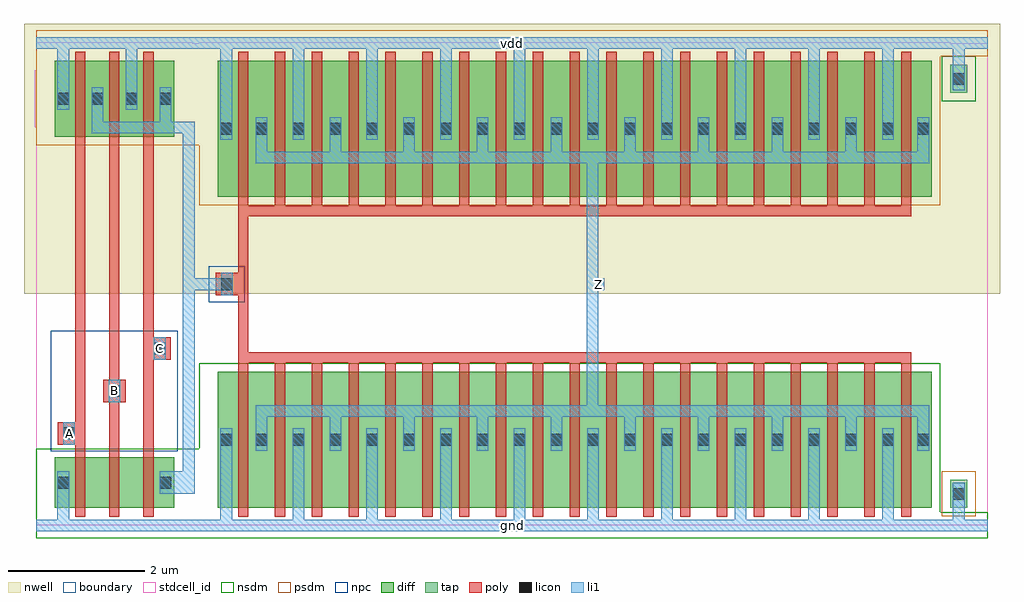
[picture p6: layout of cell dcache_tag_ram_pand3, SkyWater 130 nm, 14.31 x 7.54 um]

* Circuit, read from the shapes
.subckt dcache_tag_ram_pand3 A B C Z gnd vdd
XM1 dcache_tag_ram_pnand3_0/dcache_tag_ram_nmos_m1_w0_740_sli_dactive_3/D A gnd gnd sky130_fd_pr__nfet_01v8 w=0.74 l=0.15
XM2 dcache_tag_ram_pnand3_0/dcache_tag_ram_nmos_m1_w0_740_sactive_dactive_4/D B dcache_tag_ram_pnand3_0/dcache_tag_ram_nmos_m1_w0_740_sli_dactive_3/D gnd sky130_fd_pr__nfet_01v8 w=0.74 l=0.15
XM3 dcache_tag_ram_pdriver_2_1/A C dcache_tag_ram_pnand3_0/dcache_tag_ram_nmos_m1_w0_740_sactive_dactive_4/D gnd sky130_fd_pr__nfet_01v8 w=0.74 l=0.15
XM4 Z dcache_tag_ram_pdriver_2_1/A gnd gnd sky130_fd_pr__nfet_01v8 w=2 l=0.15 m=19
XM5 dcache_tag_ram_pdriver_2_1/A A vdd vdd sky130_fd_pr__pfet_01v8 w=1.12 l=0.15
XM6 vdd B dcache_tag_ram_pdriver_2_1/A vdd sky130_fd_pr__pfet_01v8 w=1.12 l=0.15
XM7 dcache_tag_ram_pdriver_2_1/A C vdd vdd sky130_fd_pr__pfet_01v8 w=1.12 l=0.15
XM8 Z dcache_tag_ram_pdriver_2_1/A vdd vdd sky130_fd_pr__pfet_01v8 w=2 l=0.15 m=19
.ends

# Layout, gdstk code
import gdstk
lib = gdstk.Library(unit=1e-6, precision=1e-09)
def R(c, l, rs):  # rectangles x0, y0, x1, y1
    for r in rs: c.add(gdstk.rectangle(r[:2], r[2:], *l))
def A(c, l, x, y, w, h, nx, ny, dx, dy):  # array of equal rectangles
    R(c, l, [(x+i*dx, y+j*dy, x+i*dx+w, y+j*dy+h) for i in range(nx) for j in range(ny)])
nwell = (64, 20)
diff = (65, 20)
tap = (65, 44)
poly = (66, 20)
licon = (66, 44)
li1 = (67, 20)
stdcell_id = (81, 4)
nsdm = (93, 44)
psdm = (94, 20)
npc = (95, 20)
boundary = (235, 4)

dcache_tag_ram_contact_1 = lib.new_cell('dcache_tag_ram_contact_11')
R(dcache_tag_ram_contact_1, nwell, [(-0.295,-0.255,0.545,0.585)])
R(dcache_tag_ram_contact_1, diff, [(0,0.02,0.25,0.31)])
R(dcache_tag_ram_contact_1, licon, [(0.04,0.08,0.21,0.25)])
R(dcache_tag_ram_contact_1, li1, [(0.04,0,0.21,0.33)])
R(dcache_tag_ram_contact_1, stdcell_id, [(-0.295,-0.255,0.545,0.585)])
R(dcache_tag_ram_contact_1, psdm, [(-0.125,-0.105,0.375,0.435)])
R(dcache_tag_ram_contact_1, boundary, [(-0.295,-0.255,0.545,0.585)])

dcache_tag_ram_pmos_m1_w = lib.new_cell('dcache_tag_ram_pmos_m1_w1_120_sli_dli')
R(dcache_tag_ram_pmos_m1_w, nwell, [(-0.27,-0.27,1.02,1.39)])
R(dcache_tag_ram_pmos_m1_w, diff, [(0,0,0.75,1.12)])
R(dcache_tag_ram_pmos_m1_w, poly, [(0.3,-0.13,0.45,1.25), (0.3,-0.13,0.45,1.25)])
R(dcache_tag_ram_pmos_m1_w, li1, [(0.04,0.395,0.21,0.725), (0.54,0.395,0.71,0.725)])
R(dcache_tag_ram_pmos_m1_w, stdcell_id, [(-0.27,-0.27,1.02,1.39)])
R(dcache_tag_ram_pmos_m1_w, psdm, [(-0.125,-0.125,0.875,1.245)])
R(dcache_tag_ram_pmos_m1_w, boundary, [(-0.27,-0.27,1.02,1.39)])
dcache_tag_ram_pmos_m1_w.add(gdstk.Reference(dcache_tag_ram_contact_1, (0,0.395)))
dcache_tag_ram_pmos_m1_w.add(gdstk.Reference(dcache_tag_ram_contact_1, (0.5,0.395)))
dcache_tag_ram_pmos_m1_w.add(gdstk.Label('G', (0.375,0.56), layer=66, texttype=5))
dcache_tag_ram_pmos_m1_w.add(gdstk.Label('S', (0.125,0.56), layer=67, texttype=5))
dcache_tag_ram_pmos_m1_w.add(gdstk.Label('D', (0.625,0.56), layer=67, texttype=5))

c_dcache_tag_ram_contact_1 = lib.new_cell('dcache_tag_ram_contact_10')
R(c_dcache_tag_ram_contact_1, diff, [(0,0.02,0.25,0.31)])
R(c_dcache_tag_ram_contact_1, licon, [(0.04,0.08,0.21,0.25)])
R(c_dcache_tag_ram_contact_1, li1, [(0.04,0,0.21,0.33)])
R(c_dcache_tag_ram_contact_1, stdcell_id, [(-0.125,-0.105,0.375,0.435)])
R(c_dcache_tag_ram_contact_1, nsdm, [(-0.125,-0.105,0.375,0.435)])
R(c_dcache_tag_ram_contact_1, boundary, [(-0.125,-0.105,0.375,0.435)])

dcache_tag_ram_nmos_m1_w = lib.new_cell('dcache_tag_ram_nmos_m1_w0_740_sli_dactive')
R(dcache_tag_ram_nmos_m1_w, diff, [(0,0,0.75,0.74), (0.55,0.295,0.7,0.445)])
R(dcache_tag_ram_nmos_m1_w, poly, [(0.3,-0.13,0.45,0.87), (0.3,-0.13,0.45,0.87)])
R(dcache_tag_ram_nmos_m1_w, li1, [(0.04,0.205,0.21,0.535)])
R(dcache_tag_ram_nmos_m1_w, stdcell_id, [(-0.125,-0.13,0.875,0.87)])
R(dcache_tag_ram_nmos_m1_w, nsdm, [(-0.125,-0.125,0.875,0.865)])
R(dcache_tag_ram_nmos_m1_w, boundary, [(-0.125,-0.13,0.875,0.87)])
dcache_tag_ram_nmos_m1_w.add(gdstk.Reference(c_dcache_tag_ram_contact_1, (0,0.205)))
dcache_tag_ram_nmos_m1_w.add(gdstk.Label('G', (0.375,0.37), layer=66, texttype=5))
dcache_tag_ram_nmos_m1_w.add(gdstk.Label('S', (0.125,0.37), layer=67, texttype=5))
dcache_tag_ram_nmos_m1_w.add(gdstk.Label('D', (0.625,0.37), layer=65, texttype=5))

c_dcache_tag_ram_nmos_m1_w = lib.new_cell('dcache_tag_ram_nmos_m1_w0_740_sactive_dactive')
R(c_dcache_tag_ram_nmos_m1_w, diff, [(0,0,0.75,0.74), (0.05,0.295,0.2,0.445), (0.55,0.295,0.7,0.445)])
R(c_dcache_tag_ram_nmos_m1_w, poly, [(0.3,-0.13,0.45,0.87), (0.3,-0.13,0.45,0.87)])
R(c_dcache_tag_ram_nmos_m1_w, stdcell_id, [(-0.125,-0.13,0.875,0.87)])
R(c_dcache_tag_ram_nmos_m1_w, nsdm, [(-0.125,-0.125,0.875,0.865)])
R(c_dcache_tag_ram_nmos_m1_w, boundary, [(-0.125,-0.13,0.875,0.87)])
c_dcache_tag_ram_nmos_m1_w.add(gdstk.Label('G', (0.375,0.37), layer=66, texttype=5))
c_dcache_tag_ram_nmos_m1_w.add(gdstk.Label('S', (0.125,0.37), layer=65, texttype=5))
c_dcache_tag_ram_nmos_m1_w.add(gdstk.Label('D', (0.625,0.37), layer=65, texttype=5))

c_dcache_tag_ram_nmos_m1_w_ = lib.new_cell('dcache_tag_ram_nmos_m1_w0_740_sactive_dli')
R(c_dcache_tag_ram_nmos_m1_w_, diff, [(0,0,0.75,0.74), (0.05,0.295,0.2,0.445)])
R(c_dcache_tag_ram_nmos_m1_w_, poly, [(0.3,-0.13,0.45,0.87), (0.3,-0.13,0.45,0.87)])
R(c_dcache_tag_ram_nmos_m1_w_, li1, [(0.54,0.205,0.71,0.535)])
R(c_dcache_tag_ram_nmos_m1_w_, stdcell_id, [(-0.125,-0.13,0.875,0.87)])
R(c_dcache_tag_ram_nmos_m1_w_, nsdm, [(-0.125,-0.125,0.875,0.865)])
R(c_dcache_tag_ram_nmos_m1_w_, boundary, [(-0.125,-0.13,0.875,0.87)])
c_dcache_tag_ram_nmos_m1_w_.add(gdstk.Reference(c_dcache_tag_ram_contact_1, (0.5,0.205)))
c_dcache_tag_ram_nmos_m1_w_.add(gdstk.Label('G', (0.375,0.37), layer=66, texttype=5))
c_dcache_tag_ram_nmos_m1_w_.add(gdstk.Label('S', (0.125,0.37), layer=65, texttype=5))
c_dcache_tag_ram_nmos_m1_w_.add(gdstk.Label('D', (0.625,0.37), layer=67, texttype=5))

c_dcache_tag_ram_contact_1_ = lib.new_cell('dcache_tag_ram_contact_15')
R(c_dcache_tag_ram_contact_1_, poly, [(0,0,0.33,0.33)])
R(c_dcache_tag_ram_contact_1_, licon, [(0.08,0.08,0.25,0.25)])
R(c_dcache_tag_ram_contact_1_, li1, [(0.08,0,0.25,0.33)])
R(c_dcache_tag_ram_contact_1_, stdcell_id, [(-0.1,-0.1,0.43,0.43)])
R(c_dcache_tag_ram_contact_1_, npc, [(-0.1,-0.1,0.43,0.43)])
R(c_dcache_tag_ram_contact_1_, boundary, [(-0.1,-0.1,0.43,0.43)])

dcache_tag_ram_pnand3 = lib.new_cell('dcache_tag_ram_pnand3')
R(dcache_tag_ram_pnand3, nwell, [(-0.18,3.395,2.57,7.355)])
A(dcache_tag_ram_pnand3, poly, 0.57, 1.125, 0.15, 4.44, 3, 1, 0.5, 0)
R(dcache_tag_ram_pnand3, poly, [(0.48,1.185,0.57,1.515), (1.07,1.805,1.145,2.135), (1.57,2.425,1.81,2.755)])
R(dcache_tag_ram_pnand3, li1, [(0,-0.085,2.39,0.085), (0.31,-0.085,0.48,0.46), (1.895,0.46,2.235,0.79), (2.15,0.46,2.32,5.835), (0.395,1.185,0.565,1.515), (1.06,1.805,1.23,2.135), (1.725,2.425,1.895,2.755), (0.81,5.75,0.98,5.92), (0.895,5.75,2.235,5.92), (1.81,5.75,1.98,5.92), (1.895,5.75,2.235,5.92), (2.15,5.75,2.32,5.92), (0.81,5.835,0.98,6.255), (1.81,5.835,1.98,6.255), (0.31,6.09,0.48,7.155), (1.31,6.09,1.48,7.155), (0,6.985,2.39,7.155)])
R(dcache_tag_ram_pnand3, stdcell_id, [(0,0,2.39,7.07), (0,0,2.39,7.07)])
R(dcache_tag_ram_pnand3, nsdm, [(0,-0.19,2.39,0.19), (0,0,2.39,1.12)])
R(dcache_tag_ram_pnand3, psdm, [(0,5.57,2.39,7.07), (0,6.88,2.39,7.26)])
R(dcache_tag_ram_pnand3, npc, [(0.215,1.085,2.075,2.855)])
R(dcache_tag_ram_pnand3, boundary, [(0,0,2.39,7.07), (0,0,2.39,7.07)])
dcache_tag_ram_pnand3.add(gdstk.Reference(dcache_tag_ram_pmos_m1_w, (0.27,5.695)))
dcache_tag_ram_pnand3.add(gdstk.Reference(dcache_tag_ram_pmos_m1_w, (0.77,5.695)))
dcache_tag_ram_pnand3.add(gdstk.Reference(dcache_tag_ram_pmos_m1_w, (1.27,5.695)))
dcache_tag_ram_pnand3.add(gdstk.Reference(dcache_tag_ram_nmos_m1_w, (0.27,0.255)))
dcache_tag_ram_pnand3.add(gdstk.Reference(c_dcache_tag_ram_nmos_m1_w, (0.77,0.255)))
dcache_tag_ram_pnand3.add(gdstk.Reference(c_dcache_tag_ram_nmos_m1_w_, (1.27,0.255)))
dcache_tag_ram_pnand3.add(gdstk.Reference(c_dcache_tag_ram_contact_1_, (0.315,1.185)))
dcache_tag_ram_pnand3.add(gdstk.Reference(c_dcache_tag_ram_contact_1_, (0.98,1.805)))
dcache_tag_ram_pnand3.add(gdstk.Reference(c_dcache_tag_ram_contact_1_, (1.645,2.425)))
dcache_tag_ram_pnand3.add(gdstk.Label('A', (0.48,1.35), layer=67, texttype=5))
dcache_tag_ram_pnand3.add(gdstk.Label('B', (1.145,1.97), layer=67, texttype=5))
dcache_tag_ram_pnand3.add(gdstk.Label('C', (1.81,2.59), layer=67, texttype=5))
dcache_tag_ram_pnand3.add(gdstk.Label('Z', (2.235,5.835), layer=67, texttype=5))
dcache_tag_ram_pnand3.add(gdstk.Label('gnd', (1.195,0), layer=67, texttype=5))
dcache_tag_ram_pnand3.add(gdstk.Label('vdd', (1.195,7.07), layer=67, texttype=5))

dcache_tag_ram_pmos_m19_ = lib.new_cell('dcache_tag_ram_pmos_m19_w2_000_sli_dli_da_p')
R(dcache_tag_ram_pmos_m19_, nwell, [(-0.27,-0.27,10.74,2.27)])
R(dcache_tag_ram_pmos_m19_, diff, [(0,0,10.47,2)])
A(dcache_tag_ram_pmos_m19_, poly, 0.3, -0.13, 0.15, 2.26, 19, 1, 0.54, 0)
R(dcache_tag_ram_pmos_m19_, poly, [(0.3,-0.28,10.17,-0.13)])
A(dcache_tag_ram_pmos_m19_, li1, 0.56, 0.58, 0.17, 0.42, 9, 1, 1.08, 0)
A(dcache_tag_ram_pmos_m19_, li1, 1.1, 0.835, 0.17, 0.33, 9, 1, 1.08, 0)
R(dcache_tag_ram_pmos_m19_, li1, [(0.56,0.495,10.43,0.665), (10.26,0.58,10.43,1), (0.04,0.835,0.21,1.165)])
R(dcache_tag_ram_pmos_m19_, stdcell_id, [(-0.27,-0.28,10.74,2.27)])
R(dcache_tag_ram_pmos_m19_, psdm, [(-0.125,-0.125,10.595,2.125)])
R(dcache_tag_ram_pmos_m19_, boundary, [(-0.27,-0.28,10.74,2.27)])
dcache_tag_ram_pmos_m19_.add(gdstk.Reference(dcache_tag_ram_contact_1, (0,0.835)))
dcache_tag_ram_pmos_m19_.add(gdstk.Reference(dcache_tag_ram_contact_1, (0.52,0.835)))
dcache_tag_ram_pmos_m19_.add(gdstk.Reference(dcache_tag_ram_contact_1, (1.06,0.835)))
dcache_tag_ram_pmos_m19_.add(gdstk.Reference(dcache_tag_ram_contact_1, (1.6,0.835)))
dcache_tag_ram_pmos_m19_.add(gdstk.Reference(dcache_tag_ram_contact_1, (2.14,0.835)))
dcache_tag_ram_pmos_m19_.add(gdstk.Reference(dcache_tag_ram_contact_1, (2.68,0.835)))
dcache_tag_ram_pmos_m19_.add(gdstk.Reference(dcache_tag_ram_contact_1, (3.22,0.835)))
dcache_tag_ram_pmos_m19_.add(gdstk.Reference(dcache_tag_ram_contact_1, (3.76,0.835)))
dcache_tag_ram_pmos_m19_.add(gdstk.Reference(dcache_tag_ram_contact_1, (4.3,0.835)))
dcache_tag_ram_pmos_m19_.add(gdstk.Reference(dcache_tag_ram_contact_1, (4.84,0.835)))
dcache_tag_ram_pmos_m19_.add(gdstk.Reference(dcache_tag_ram_contact_1, (5.38,0.835)))
dcache_tag_ram_pmos_m19_.add(gdstk.Reference(dcache_tag_ram_contact_1, (5.92,0.835)))
dcache_tag_ram_pmos_m19_.add(gdstk.Reference(dcache_tag_ram_contact_1, (6.46,0.835)))
dcache_tag_ram_pmos_m19_.add(gdstk.Reference(dcache_tag_ram_contact_1, (7,0.835)))
dcache_tag_ram_pmos_m19_.add(gdstk.Reference(dcache_tag_ram_contact_1, (7.54,0.835)))
dcache_tag_ram_pmos_m19_.add(gdstk.Reference(dcache_tag_ram_contact_1, (8.08,0.835)))
dcache_tag_ram_pmos_m19_.add(gdstk.Reference(dcache_tag_ram_contact_1, (8.62,0.835)))
dcache_tag_ram_pmos_m19_.add(gdstk.Reference(dcache_tag_ram_contact_1, (9.16,0.835)))
dcache_tag_ram_pmos_m19_.add(gdstk.Reference(dcache_tag_ram_contact_1, (9.7,0.835)))
dcache_tag_ram_pmos_m19_.add(gdstk.Reference(dcache_tag_ram_contact_1, (10.22,0.835)))
dcache_tag_ram_pmos_m19_.add(gdstk.Label('G', (5.235,-0.205), layer=66, texttype=5))
dcache_tag_ram_pmos_m19_.add(gdstk.Label('S', (5.505,1), layer=67, texttype=5))
dcache_tag_ram_pmos_m19_.add(gdstk.Label('S', (2.265,1), layer=67, texttype=5))
dcache_tag_ram_pmos_m19_.add(gdstk.Label('S', (1.185,1), layer=67, texttype=5))
dcache_tag_ram_pmos_m19_.add(gdstk.Label('S', (8.745,1), layer=67, texttype=5))
dcache_tag_ram_pmos_m19_.add(gdstk.Label('S', (7.665,1), layer=67, texttype=5))
dcache_tag_ram_pmos_m19_.add(gdstk.Label('S', (9.825,1), layer=67, texttype=5))
dcache_tag_ram_pmos_m19_.add(gdstk.Label('S', (0.125,1), layer=67, texttype=5))
dcache_tag_ram_pmos_m19_.add(gdstk.Label('S', (6.585,1), layer=67, texttype=5))
dcache_tag_ram_pmos_m19_.add(gdstk.Label('S', (3.345,1), layer=67, texttype=5))
dcache_tag_ram_pmos_m19_.add(gdstk.Label('S', (4.425,1), layer=67, texttype=5))
dcache_tag_ram_pmos_m19_.add(gdstk.Label('D', (5.495,0.58), layer=67, texttype=5))

dcache_tag_ram_nmos_m19_ = lib.new_cell('dcache_tag_ram_nmos_m19_w2_000_sli_dli_da_p')
R(dcache_tag_ram_nmos_m19_, diff, [(0,0,10.47,2)])
A(dcache_tag_ram_nmos_m19_, poly, 0.3, -0.13, 0.15, 2.26, 19, 1, 0.54, 0)
R(dcache_tag_ram_nmos_m19_, poly, [(0.3,2.13,10.17,2.28)])
A(dcache_tag_ram_nmos_m19_, li1, 1.1, 0.835, 0.17, 0.33, 9, 1, 1.08, 0)
A(dcache_tag_ram_nmos_m19_, li1, 0.56, 1, 0.17, 0.42, 9, 1, 1.08, 0)
R(dcache_tag_ram_nmos_m19_, li1, [(0.04,0.835,0.21,1.165), (10.26,1,10.43,1.42), (0.56,1.335,10.43,1.505)])
R(dcache_tag_ram_nmos_m19_, stdcell_id, [(-0.125,-0.13,10.595,2.28)])
R(dcache_tag_ram_nmos_m19_, nsdm, [(-0.125,-0.125,10.595,2.125)])
R(dcache_tag_ram_nmos_m19_, boundary, [(-0.125,-0.13,10.595,2.28)])
dcache_tag_ram_nmos_m19_.add(gdstk.Reference(c_dcache_tag_ram_contact_1, (0,0.835)))
dcache_tag_ram_nmos_m19_.add(gdstk.Reference(c_dcache_tag_ram_contact_1, (0.52,0.835)))
dcache_tag_ram_nmos_m19_.add(gdstk.Reference(c_dcache_tag_ram_contact_1, (1.06,0.835)))
dcache_tag_ram_nmos_m19_.add(gdstk.Reference(c_dcache_tag_ram_contact_1, (1.6,0.835)))
dcache_tag_ram_nmos_m19_.add(gdstk.Reference(c_dcache_tag_ram_contact_1, (2.14,0.835)))
dcache_tag_ram_nmos_m19_.add(gdstk.Reference(c_dcache_tag_ram_contact_1, (2.68,0.835)))
dcache_tag_ram_nmos_m19_.add(gdstk.Reference(c_dcache_tag_ram_contact_1, (3.22,0.835)))
dcache_tag_ram_nmos_m19_.add(gdstk.Reference(c_dcache_tag_ram_contact_1, (3.76,0.835)))
dcache_tag_ram_nmos_m19_.add(gdstk.Reference(c_dcache_tag_ram_contact_1, (4.3,0.835)))
dcache_tag_ram_nmos_m19_.add(gdstk.Reference(c_dcache_tag_ram_contact_1, (4.84,0.835)))
dcache_tag_ram_nmos_m19_.add(gdstk.Reference(c_dcache_tag_ram_contact_1, (5.38,0.835)))
dcache_tag_ram_nmos_m19_.add(gdstk.Reference(c_dcache_tag_ram_contact_1, (5.92,0.835)))
dcache_tag_ram_nmos_m19_.add(gdstk.Reference(c_dcache_tag_ram_contact_1, (6.46,0.835)))
dcache_tag_ram_nmos_m19_.add(gdstk.Reference(c_dcache_tag_ram_contact_1, (7,0.835)))
dcache_tag_ram_nmos_m19_.add(gdstk.Reference(c_dcache_tag_ram_contact_1, (7.54,0.835)))
dcache_tag_ram_nmos_m19_.add(gdstk.Reference(c_dcache_tag_ram_contact_1, (8.08,0.835)))
dcache_tag_ram_nmos_m19_.add(gdstk.Reference(c_dcache_tag_ram_contact_1, (8.62,0.835)))
dcache_tag_ram_nmos_m19_.add(gdstk.Reference(c_dcache_tag_ram_contact_1, (9.16,0.835)))
dcache_tag_ram_nmos_m19_.add(gdstk.Reference(c_dcache_tag_ram_contact_1, (9.7,0.835)))
dcache_tag_ram_nmos_m19_.add(gdstk.Reference(c_dcache_tag_ram_contact_1, (10.22,0.835)))
dcache_tag_ram_nmos_m19_.add(gdstk.Label('G', (5.235,2.205), layer=66, texttype=5))
dcache_tag_ram_nmos_m19_.add(gdstk.Label('S', (5.505,1), layer=67, texttype=5))
dcache_tag_ram_nmos_m19_.add(gdstk.Label('S', (2.265,1), layer=67, texttype=5))
dcache_tag_ram_nmos_m19_.add(gdstk.Label('S', (1.185,1), layer=67, texttype=5))
dcache_tag_ram_nmos_m19_.add(gdstk.Label('S', (8.745,1), layer=67, texttype=5))
dcache_tag_ram_nmos_m19_.add(gdstk.Label('S', (7.665,1), layer=67, texttype=5))
dcache_tag_ram_nmos_m19_.add(gdstk.Label('S', (9.825,1), layer=67, texttype=5))
dcache_tag_ram_nmos_m19_.add(gdstk.Label('S', (0.125,1), layer=67, texttype=5))
dcache_tag_ram_nmos_m19_.add(gdstk.Label('S', (6.585,1), layer=67, texttype=5))
dcache_tag_ram_nmos_m19_.add(gdstk.Label('S', (3.345,1), layer=67, texttype=5))
dcache_tag_ram_nmos_m19_.add(gdstk.Label('S', (4.425,1), layer=67, texttype=5))
dcache_tag_ram_nmos_m19_.add(gdstk.Label('D', (5.495,1.42), layer=67, texttype=5))

dcache_tag_ram_contact_2 = lib.new_cell('dcache_tag_ram_contact_24')
R(dcache_tag_ram_contact_2, nwell, [(-0.295,-0.215,0.545,0.625)])
R(dcache_tag_ram_contact_2, tap, [(0,0,0.25,0.41)])
R(dcache_tag_ram_contact_2, licon, [(0.04,0.12,0.21,0.29)])
R(dcache_tag_ram_contact_2, li1, [(0.04,0.04,0.21,0.37)])
R(dcache_tag_ram_contact_2, stdcell_id, [(-0.295,-0.215,0.545,0.625)])
R(dcache_tag_ram_contact_2, nsdm, [(-0.125,-0.125,0.375,0.535)])
R(dcache_tag_ram_contact_2, boundary, [(-0.295,-0.215,0.545,0.625)])

c_dcache_tag_ram_contact_2 = lib.new_cell('dcache_tag_ram_contact_25')
R(c_dcache_tag_ram_contact_2, tap, [(0,0,0.25,0.41)])
R(c_dcache_tag_ram_contact_2, licon, [(0.04,0.12,0.21,0.29)])
R(c_dcache_tag_ram_contact_2, li1, [(0.04,0.04,0.21,0.37)])
R(c_dcache_tag_ram_contact_2, stdcell_id, [(-0.125,-0.125,0.375,0.535)])
R(c_dcache_tag_ram_contact_2, psdm, [(-0.125,-0.125,0.375,0.535)])
R(c_dcache_tag_ram_contact_2, boundary, [(-0.125,-0.125,0.375,0.535)])

dcache_tag_ram_pinv_11 = lib.new_cell('dcache_tag_ram_pinv_11')
R(dcache_tag_ram_pinv_11, nwell, [(-0.18,3.395,11.74,7.355)])
R(dcache_tag_ram_pinv_11, poly, [(0.57,2.535,0.72,4.535), (0.405,3.37,0.57,3.7)])
A(dcache_tag_ram_pinv_11, li1, 1.37, -0.085, 0.17, 1.175, 9, 1, 1.08, 0)
A(dcache_tag_ram_pinv_11, li1, 1.37, 5.65, 0.17, 1.505, 9, 1, 1.08, 0)
R(dcache_tag_ram_pinv_11, li1, [(0,-0.085,11.56,0.085), (0.31,-0.085,0.48,1.09), (11.05,0,11.22,0.46), (5.68,1.59,5.85,5.48), (0.32,3.37,0.49,3.7), (5.765,3.45,5.935,3.62), (0.31,5.65,0.48,7.155), (11.05,6.545,11.22,7.07), (0,6.985,11.56,7.155)])
R(dcache_tag_ram_pinv_11, stdcell_id, [(0,0,11.56,7.07), (0,0,11.56,7.07)])
R(dcache_tag_ram_pinv_11, nsdm, [(0,-0.19,11.56,0.19), (0,0,10.865,2.38)])
R(dcache_tag_ram_pinv_11, psdm, [(0,4.69,10.865,7.07), (0,6.88,11.56,7.26)])
R(dcache_tag_ram_pinv_11, boundary, [(0,0,11.56,7.07), (0,0,11.56,7.07)])
dcache_tag_ram_pinv_11.add(gdstk.Reference(dcache_tag_ram_pmos_m19_, (0.27,4.815)))
dcache_tag_ram_pinv_11.add(gdstk.Reference(dcache_tag_ram_nmos_m19_, (0.27,0.255)))
dcache_tag_ram_pinv_11.add(gdstk.Reference(dcache_tag_ram_contact_2, (11.01,6.34)))
dcache_tag_ram_pinv_11.add(gdstk.Reference(c_dcache_tag_ram_contact_2, (11.01,0.255)))
dcache_tag_ram_pinv_11.add(gdstk.Reference(c_dcache_tag_ram_contact_1_, (0.24,3.37)))
dcache_tag_ram_pinv_11.add(gdstk.Label('A', (0.405,3.535), layer=67, texttype=5))
dcache_tag_ram_pinv_11.add(gdstk.Label('Z', (5.85,3.535), layer=67, texttype=5))
dcache_tag_ram_pinv_11.add(gdstk.Label('gnd', (5.78,0), layer=67, texttype=5))
dcache_tag_ram_pinv_11.add(gdstk.Label('vdd', (5.78,7.07), layer=67, texttype=5))

dcache_tag_ram_pdriver_2 = lib.new_cell('dcache_tag_ram_pdriver_2')
R(dcache_tag_ram_pdriver_2, nwell, [(-0.18,3.395,11.74,7.355)])
R(dcache_tag_ram_pdriver_2, li1, [(0,-0.085,11.56,0.085), (0.32,3.37,0.49,3.7), (5.765,3.45,5.935,3.62), (0,6.985,11.56,7.155)])
R(dcache_tag_ram_pdriver_2, stdcell_id, [(0,0,11.56,7.07), (0,0,11.56,7.07)])
R(dcache_tag_ram_pdriver_2, nsdm, [(0,-0.19,11.56,0.19)])
R(dcache_tag_ram_pdriver_2, psdm, [(0,6.88,11.56,7.26)])
R(dcache_tag_ram_pdriver_2, boundary, [(0,0,11.56,7.07), (0,0,11.56,7.07)])
dcache_tag_ram_pdriver_2.add(gdstk.Reference(dcache_tag_ram_pinv_11, (0,0)))
dcache_tag_ram_pdriver_2.add(gdstk.Label('Z', (5.85,3.535), layer=67, texttype=5))
dcache_tag_ram_pdriver_2.add(gdstk.Label('A', (0.405,3.535), layer=67, texttype=5))
dcache_tag_ram_pdriver_2.add(gdstk.Label('gnd', (5.78,0), layer=67, texttype=5))
dcache_tag_ram_pdriver_2.add(gdstk.Label('vdd', (5.78,7.07), layer=67, texttype=5))

dcache_tag_ram_pand3 = lib.new_cell('dcache_tag_ram_pand3')
R(dcache_tag_ram_pand3, li1, [(0,-0.085,13.95,0.085), (0.395,1.185,0.565,1.515), (1.06,1.805,1.23,2.135), (1.725,2.425,1.895,2.755), (2.15,3.45,2.32,3.62), (2.235,3.45,2.795,3.62), (8.155,3.45,8.325,3.62), (2.15,3.535,2.32,5.835), (0,6.985,13.95,7.155)])
R(dcache_tag_ram_pand3, stdcell_id, [(0,0,13.95,7.07), (0,0,13.95,7.07)])
R(dcache_tag_ram_pand3, boundary, [(0,0,13.95,7.07), (0,0,13.95,7.07)])
dcache_tag_ram_pand3.add(gdstk.Reference(dcache_tag_ram_pnand3, (0,0)))
dcache_tag_ram_pand3.add(gdstk.Reference(dcache_tag_ram_pdriver_2, (2.39,0)))
dcache_tag_ram_pand3.add(gdstk.Label('Z', (8.24,3.535), layer=67, texttype=5))
dcache_tag_ram_pand3.add(gdstk.Label('A', (0.48,1.35), layer=67, texttype=5))
dcache_tag_ram_pand3.add(gdstk.Label('B', (1.145,1.97), layer=67, texttype=5))
dcache_tag_ram_pand3.add(gdstk.Label('C', (1.81,2.59), layer=67, texttype=5))
dcache_tag_ram_pand3.add(gdstk.Label('gnd', (6.975,0), layer=67, texttype=5))
dcache_tag_ram_pand3.add(gdstk.Label('vdd', (6.975,7.07), layer=67, texttype=5))

lib.write_gds('dcache_tag_ram_pand3.gds')
